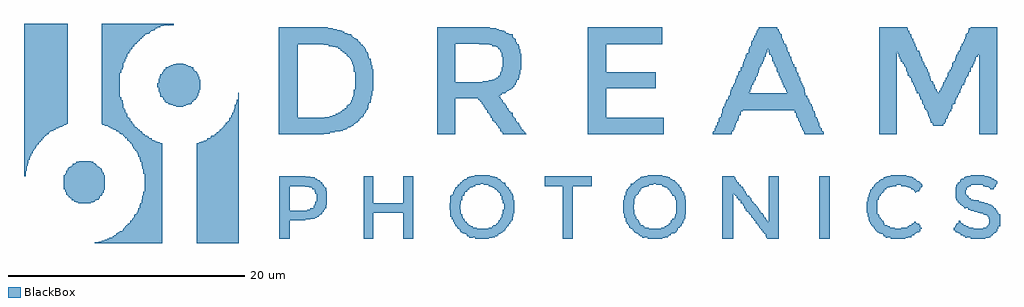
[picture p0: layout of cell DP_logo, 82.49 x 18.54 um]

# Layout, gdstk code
import gdstk
lib = gdstk.Library(unit=1e-6, precision=1e-09)
def R(c, l, rs):  # rectangles x0, y0, x1, y1
    for r in rs: c.add(gdstk.rectangle(r[:2], r[2:], *l))
def P(c, l, *ps):  # polygons
    for p in ps: c.add(gdstk.Polygon(p, *l))
BlackBox = (998, 0)

dp_logo = lib.new_cell('DP_logo')
R(dp_logo, BlackBox, [(67.22,0.39,68.12,5.67)])
P(dp_logo, BlackBox, [(58.22,9.21),(58.22,9.36),(58.25,9.36),(58.25,9.48),(58.4,9.48),(58.4,9.72),(58.46,9.72),(58.46,9.93),(58.58,9.93),(58.58,10.11),(58.61,10.11),(58.61,10.2),(58.73,10.2),(58.73,10.56),(58.82,10.56),(58.82,10.65),(58.91,10.65),(58.91,10.92),(59,10.92),(59,11.04),(59.03,11.04),(59.03,11.37),(59.12,11.37),(59.12,11.52),(59.21,11.52),(59.21,11.79),(59.33,11.79),(59.33,11.94),(59.36,11.94),(59.36,12.12),(59.51,12.12),(59.51,12.33),(59.57,12.33),(59.57,12.48),(59.69,12.48),(59.69,12.78),(59.75,12.78),(59.75,12.96),(59.81,12.96),(59.81,13.17),(59.93,13.17),(59.93,13.38),(60.02,13.38),(60.02,13.53),(60.11,13.53),(60.11,13.77),(60.17,13.77),(60.17,13.89),(60.23,13.89),(60.23,14.16),(60.35,14.16),(60.35,14.4),(60.41,14.4),(60.41,14.52),(60.56,14.52),(60.56,14.7),(60.59,14.7),(60.59,14.88),(60.74,14.88),(60.74,15.12),(60.8,15.12),(60.8,15.33),(60.89,15.33),(60.89,15.54),(60.95,15.54),(60.95,15.69),(61.01,15.69),(61.01,15.93),(61.1,15.93),(61.1,16.05),(61.25,16.05),(61.25,16.38),(62.81,16.38),(62.81,16.14),(62.75,16.14),(62.75,16.02),(62.69,16.02),(62.69,15.75),(62.57,15.75),(62.57,15.54),(62.51,15.54),(62.51,15.39),(62.45,15.39),(62.45,15.18),(62.33,15.18),(62.33,14.94),(62.24,14.94),(62.24,14.85),(62.15,14.85),(62.15,14.64),(62.09,14.64),(62.09,14.4),(62.03,14.4),(62.03,14.16),(61.91,14.16),(61.91,14.07),(61.85,14.07),(61.85,13.77),(61.7,13.77),(61.7,13.59),(61.64,13.59),(61.64,13.38),(61.52,13.38),(61.52,13.23),(61.46,13.23),(61.46,12.99),(61.37,12.99),(61.37,12.78),(61.31,12.78),(61.31,12.66),(64.49,12.66),(64.49,12.78),(64.43,12.78),(64.43,12.99),(64.34,12.99),(64.34,13.17),(64.22,13.17),(64.22,13.41),(64.13,13.41),(64.13,13.59),(64.04,13.59),(64.04,13.8),(63.98,13.8),(63.98,13.98),(63.86,13.98),(63.86,14.16),(63.8,14.16),(63.8,14.46),(63.68,14.46),(63.68,14.52),(63.62,14.52),(63.62,14.85),(63.53,14.85),(63.53,14.94),(63.44,14.94),(63.44,15.18),(63.35,15.18),(63.35,15.39),(63.26,15.39),(63.26,15.6),(63.23,15.6),(63.23,15.75),(63.14,15.75),(63.14,15.93),(62.99,15.93),(62.99,16.14),(62.93,16.14),(62.93,16.38),(61.31,16.38),(61.31,16.56),(61.37,16.56),(61.37,16.65),(61.46,16.65),(61.46,16.98),(61.52,16.98),(61.52,17.13),(61.64,17.13),(61.64,17.31),(61.7,17.31),(61.7,17.52),(61.85,17.52),(61.85,17.76),(61.91,17.76),(61.91,17.94),(62.03,17.94),(62.03,18.09),(62.09,18.09),(62.09,18.27),(63.68,18.27),(63.68,18.09),(63.8,18.09),(63.8,17.88),(63.86,17.88),(63.86,17.7),(63.98,17.7),(63.98,17.64),(64.04,17.64),(64.04,17.28),(64.13,17.28),(64.13,17.13),(64.22,17.13),(64.22,16.86),(64.34,16.86),(64.34,16.77),(64.43,16.77),(64.43,16.56),(64.49,16.56),(64.49,16.26),(64.55,16.26),(64.55,16.14),(64.67,16.14),(64.67,15.93),(64.73,15.93),(64.73,15.75),(64.85,15.75),(64.85,15.51),(64.91,15.51),(64.91,15.33),(64.97,15.33),(64.97,15.12),(65.09,15.12),(65.09,14.88),(65.15,14.88),(65.15,14.85),(65.27,14.85),(65.27,14.52),(65.33,14.52),(65.33,14.4),(65.42,14.4),(65.42,14.1),(65.51,14.1),(65.51,13.98),(65.6,13.98),(65.6,13.68),(65.69,13.68),(65.69,13.53),(65.78,13.53),(65.78,13.35),(65.84,13.35),(65.84,13.17),(65.96,13.17),(65.96,12.99),(65.99,12.99),(65.99,12.72),(66.05,12.72),(66.05,12.48),(66.2,12.48),(66.2,12.27),(66.29,12.27),(66.29,12.12),(66.38,12.12),(66.38,11.88),(66.47,11.88),(66.47,11.73),(66.56,11.73),(66.56,11.52),(66.65,11.52),(66.65,11.28),(66.71,11.28),(66.71,11.16),(66.83,11.16),(66.83,10.92),(66.89,10.92),(66.89,10.65),(67.01,10.65),(67.01,10.5),(67.07,10.5),(67.07,10.29),(67.13,10.29),(67.13,10.17),(67.22,10.17),(67.22,9.84),(67.28,9.84),(67.28,9.72),(67.43,9.72),(67.43,9.48),(67.55,9.48),(67.55,9.36),(67.58,9.36),(67.58,9.21),(65.99,9.21),(65.99,9.24),(65.96,9.24),(65.96,9.45),(65.84,9.45),(65.84,9.57),(65.78,9.57),(65.78,9.78),(65.69,9.78),(65.69,9.93),(65.6,9.93),(65.6,10.2),(65.51,10.2),(65.51,10.35),(65.42,10.35),(65.42,10.62),(65.33,10.62),(65.33,10.74),(65.27,10.74),(65.27,11.04),(65.15,11.04),(65.15,11.22),(60.74,11.22),(60.74,11.16),(60.59,11.16),(60.59,11.01),(60.56,11.01),(60.56,10.83),(60.41,10.83),(60.41,10.56),(60.35,10.56),(60.35,10.35),(60.23,10.35),(60.23,10.17),(60.17,10.17),(60.17,9.99),(60.11,9.99),(60.11,9.78),(60.02,9.78),(60.02,9.57),(59.93,9.57),(59.93,9.45),(59.81,9.45),(59.81,9.21)],
  [(6,0),(6,0.06),(6.3,0.06),(6.3,0.12),(6.57,0.12),(6.57,0.21),(6.81,0.21),(6.81,0.27),(7.02,0.27),(7.02,0.39),(7.2,0.39),(7.2,0.45),(7.35,0.45),(7.35,0.48),(7.5,0.48),(7.5,0.57),(7.62,0.57),(7.62,0.66),(7.8,0.66),(7.8,0.78),(7.86,0.78),(7.86,0.84),(7.92,0.84),(7.92,0.9),(8.01,0.9),(8.01,0.93),(8.1,0.93),(8.1,1.02),(8.34,1.02),(8.34,1.11),(8.37,1.11),(8.37,1.2),(8.46,1.2),(8.46,1.29),(8.55,1.29),(8.55,1.44),(8.64,1.44),(8.64,1.5),(8.73,1.5),(8.73,1.53),(8.76,1.53),(8.76,1.65),(8.91,1.65),(8.91,1.68),(8.97,1.68),(8.97,1.89),(9.09,1.89),(9.09,1.92),(9.15,1.92),(9.15,2.07),(9.24,2.07),(9.24,2.16),(9.33,2.16),(9.33,2.4),(9.42,2.4),(9.42,2.43),(9.54,2.43),(9.54,2.58),(9.6,2.58),(9.6,2.76),(9.66,2.76),(9.66,2.94),(9.78,2.94),(9.78,3.24),(9.84,3.24),(9.84,3.36),(9.96,3.36),(9.96,3.69),(9.99,3.69),(9.99,4.02),(10.08,4.02),(10.08,4.35),(10.2,4.35),(10.2,5.88),(10.08,5.88),(10.08,6.3),(9.99,6.3),(9.99,6.54),(9.96,6.54),(9.96,6.87),(9.84,6.87),(9.84,7.11),(9.78,7.11),(9.78,7.32),(9.66,7.32),(9.66,7.5),(9.6,7.5),(9.6,7.68),(9.54,7.68),(9.54,7.83),(9.42,7.83),(9.42,7.92),(9.33,7.92),(9.33,8.04),(9.24,8.04),(9.24,8.19),(9.15,8.19),(9.15,8.37),(9.09,8.37),(9.09,8.46),(8.97,8.46),(8.97,8.58),(8.91,8.58),(8.91,8.67),(8.76,8.67),(8.76,8.7),(8.73,8.7),(8.73,8.85),(8.64,8.85),(8.64,8.88),(8.55,8.88),(8.55,9),(8.46,9),(8.46,9.06),(8.37,9.06),(8.37,9.21),(8.22,9.21),(8.22,9.24),(8.1,9.24),(8.1,9.36),(8.01,9.36),(8.01,9.45),(7.86,9.45),(7.86,9.48),(7.8,9.48),(7.8,9.57),(7.62,9.57),(7.62,9.63),(7.5,9.63),(7.5,9.72),(7.35,9.72),(7.35,9.78),(7.2,9.78),(7.2,9.84),(7.14,9.84),(7.14,9.93),(6.81,9.93),(6.81,9.99),(6.63,9.99),(6.63,10.11),(6.57,10.11),(6.57,18.54),(12.66,18.54),(12.66,18.42),(12.18,18.42),(12.18,18.39),(11.82,18.39),(11.82,18.36),(11.52,18.36),(11.52,18.27),(11.28,18.27),(11.28,18.18),(11.1,18.18),(11.1,18.09),(11.07,18.09),(11.07,18),(10.89,18),(10.89,17.94),(10.71,17.94),(10.71,17.88),(10.62,17.88),(10.62,17.76),(10.53,17.76),(10.53,17.7),(10.32,17.7),(10.32,17.64),(10.2,17.64),(10.2,17.52),(10.08,17.52),(10.08,17.4),(9.96,17.4),(9.96,17.28),(9.84,17.28),(9.84,17.22),(9.78,17.22),(9.78,17.13),(9.66,17.13),(9.66,17.04),(9.6,17.04),(9.6,16.98),(9.54,16.98),(9.54,16.86),(9.42,16.86),(9.42,16.83),(9.33,16.83),(9.33,16.65),(9.24,16.65),(9.24,16.59),(9.15,16.59),(9.15,16.44),(9.09,16.44),(9.09,16.38),(8.97,16.38),(8.97,16.23),(8.91,16.23),(8.91,16.05),(8.76,16.05),(8.76,16.02),(8.73,16.02),(8.73,15.75),(8.64,15.75),(8.64,15.6),(8.55,15.6),(8.55,15.39),(8.46,15.39),(8.46,15.24),(8.37,15.24),(8.37,14.88),(8.34,14.88),(8.34,14.7),(8.22,14.7),(8.22,14.4),(8.1,14.4),(8.1,12.33),(8.22,12.33),(8.22,12.06),(8.34,12.06),(8.34,11.79),(8.37,11.79),(8.37,11.4),(8.46,11.4),(8.46,11.28),(8.55,11.28),(8.55,11.04),(8.64,11.04),(8.64,10.92),(8.73,10.92),(8.73,10.65),(8.76,10.65),(8.76,10.62),(8.91,10.62),(8.91,10.5),(8.97,10.5),(8.97,10.29),(9.09,10.29),(9.09,10.2),(9.15,10.2),(9.15,10.11),(9.24,10.11),(9.24,9.99),(9.33,9.99),(9.33,9.84),(9.42,9.84),(9.42,9.78),(9.54,9.78),(9.54,9.72),(9.6,9.72),(9.6,9.63),(9.66,9.63),(9.66,9.57),(9.78,9.57),(9.78,9.45),(9.96,9.45),(9.96,9.36),(9.99,9.36),(9.99,9.24),(10.08,9.24),(10.08,9.21),(10.2,9.21),(10.2,9.09),(10.32,9.09),(10.32,9.06),(10.41,9.06),(10.41,9),(10.53,9),(10.53,8.88),(10.62,8.88),(10.62,8.85),(10.8,8.85),(10.8,8.7),(10.95,8.7),(10.95,8.67),(11.1,8.67),(11.1,8.58),(11.28,8.58),(11.28,8.55),(11.49,8.55),(11.49,8.46),(11.67,8.46),(11.67,0)],
  [(72.29,9.21),(72.29,18.27),(74.63,18.27),(74.63,18.18),(74.69,18.18),(74.69,17.94),(74.81,17.94),(74.81,17.76),(74.87,17.76),(74.87,17.64),(74.99,17.64),(74.99,17.4),(75.05,17.4),(75.05,17.28),(75.14,17.28),(75.14,17.04),(75.23,17.04),(75.23,16.86),(75.32,16.86),(75.32,16.65),(75.35,16.65),(75.35,16.56),(75.47,16.56),(75.47,16.26),(75.65,16.26),(75.65,16.14),(75.71,16.14),(75.71,16.02),(75.74,16.02),(75.74,15.75),(75.86,15.75),(75.86,15.6),(75.92,15.6),(75.92,15.39),(76.01,15.39),(76.01,15.24),(76.1,15.24),(76.1,15.03),(76.19,15.03),(76.19,14.88),(76.28,14.88),(76.28,14.7),(76.37,14.7),(76.37,14.49),(76.43,14.49),(76.43,14.4),(76.49,14.4),(76.49,14.1),(76.58,14.1),(76.58,13.89),(76.64,13.89),(76.64,13.68),(76.79,13.68),(76.79,13.59),(76.85,13.59),(76.85,13.38),(76.97,13.38),(76.97,13.17),(77.03,13.17),(77.03,12.99),(77.15,12.99),(77.15,12.78),(77.21,12.78),(77.21,12.66),(77.27,12.66),(77.27,12.72),(77.36,12.72),(77.36,12.87),(77.48,12.87),(77.48,13.08),(77.57,13.08),(77.57,13.23),(77.66,13.23),(77.66,13.38),(77.69,13.38),(77.69,13.59),(77.81,13.59),(77.81,13.77),(77.9,13.77),(77.9,13.98),(78.02,13.98),(78.02,14.1),(78.08,14.1),(78.08,14.4),(78.17,14.4),(78.17,14.49),(78.26,14.49),(78.26,14.64),(78.35,14.64),(78.35,14.88),(78.44,14.88),(78.44,15.03),(78.47,15.03),(78.47,15.24),(78.56,15.24),(78.56,15.39),(78.71,15.39),(78.71,15.6),(78.77,15.6),(78.77,15.75),(78.8,15.75),(78.8,15.93),(78.92,15.93),(78.92,16.14),(79.01,16.14),(79.01,16.26),(79.13,16.26),(79.13,16.56),(79.19,16.56),(79.19,16.65),(79.25,16.65),(79.25,16.86),(79.37,16.86),(79.37,17.04),(79.46,17.04),(79.46,17.22),(79.55,17.22),(79.55,17.4),(79.61,17.4),(79.61,17.64),(79.67,17.64),(79.67,17.76),(79.79,17.76),(79.79,17.94),(79.85,17.94),(79.85,18.18),(80,18.18),(80,18.27),(82.25,18.27),(82.25,9.21),(80.75,9.21),(80.75,16.05),(80.69,16.05),(80.69,15.93),(80.6,15.93),(80.6,15.75),(80.45,15.75),(80.45,15.54),(80.39,15.54),(80.39,15.39),(80.33,15.39),(80.33,15.18),(80.24,15.18),(80.24,15.03),(80.18,15.03),(80.18,14.88),(80.03,14.88),(80.03,14.64),(80,14.64),(80,14.49),(79.85,14.49),(79.85,14.28),(79.79,14.28),(79.79,14.1),(79.67,14.1),(79.67,13.98),(79.61,13.98),(79.61,13.8),(79.55,13.8),(79.55,13.59),(79.46,13.59),(79.46,13.41),(79.37,13.41),(79.37,13.35),(79.25,13.35),(79.25,13.08),(79.19,13.08),(79.19,12.96),(79.13,12.96),(79.13,12.72),(79.01,12.72),(79.01,12.54),(78.92,12.54),(78.92,12.33),(78.8,12.33),(78.8,12.15),(78.77,12.15),(78.77,12.06),(78.71,12.06),(78.71,11.79),(78.56,11.79),(78.56,11.73),(78.47,11.73),(78.47,11.52),(78.44,11.52),(78.44,11.37),(78.35,11.37),(78.35,11.16),(78.26,11.16),(78.26,11.01),(78.17,11.01),(78.17,10.83),(78.08,10.83),(78.08,10.62),(78.02,10.62),(78.02,10.5),(77.9,10.5),(77.9,10.2),(77.81,10.2),(77.81,10.11),(77.69,10.11),(77.69,9.93),(76.85,9.93),(76.85,9.99),(76.79,9.99),(76.79,10.17),(76.64,10.17),(76.64,10.35),(76.58,10.35),(76.58,10.56),(76.49,10.56),(76.49,10.74),(76.43,10.74),(76.43,10.92),(76.37,10.92),(76.37,11.16),(76.28,11.16),(76.28,11.28),(76.19,11.28),(76.19,11.4),(76.1,11.4),(76.1,11.7),(76.01,11.7),(76.01,11.79),(75.92,11.79),(75.92,12.06),(75.86,12.06),(75.86,12.15),(75.74,12.15),(75.74,12.36),(75.71,12.36),(75.71,12.48),(75.65,12.48),(75.65,12.66),(75.47,12.66),(75.47,12.87),(75.35,12.87),(75.35,12.99),(75.32,12.99),(75.32,13.23),(75.23,13.23),(75.23,13.38),(75.14,13.38),(75.14,13.59),(75.05,13.59),(75.05,13.77),(74.99,13.77),(74.99,13.98),(74.87,13.98),(74.87,14.1),(74.81,14.1),(74.81,14.16),(74.69,14.16),(74.69,14.46),(74.63,14.46),(74.63,14.52),(74.57,14.52),(74.57,14.85),(74.48,14.85),(74.48,14.94),(74.39,14.94),(74.39,15.18),(74.27,15.18),(74.27,15.33),(74.15,15.33),(74.15,15.39),(74.12,15.39),(74.12,15.6),(74.03,15.6),(74.03,15.75),(73.94,15.75),(73.94,16.02),(73.85,16.02),(73.85,16.14),(73.76,16.14),(73.76,9.21)],
  [(38.15,0.39),(38.15,0.45),(37.91,0.45),(37.91,0.48),(37.64,0.48),(37.64,0.57),(37.46,0.57),(37.46,0.66),(37.4,0.66),(37.4,0.78),(37.25,0.78),(37.25,0.84),(37.1,0.84),(37.1,0.9),(37.04,0.9),(37.04,0.93),(36.92,0.93),(36.92,1.02),(36.86,1.02),(36.86,1.11),(36.83,1.11),(36.83,1.2),(36.68,1.2),(36.68,1.32),(36.62,1.32),(36.62,1.44),(36.47,1.44),(36.47,1.5),(36.44,1.5),(36.44,1.65),(36.35,1.65),(36.35,1.8),(36.26,1.8),(36.26,2.01),(36.17,2.01),(36.17,2.22),(36.02,2.22),(36.02,2.82),(35.99,2.82),(35.99,3.36),(36.02,3.36),(36.02,4.02),(36.17,4.02),(36.17,4.08),(36.26,4.08),(36.26,4.35),(36.35,4.35),(36.35,4.5),(36.44,4.5),(36.44,4.68),(36.47,4.68),(36.47,4.71),(36.62,4.71),(36.62,4.77),(36.68,4.77),(36.68,4.92),(36.83,4.92),(36.83,5.04),(38.57,5.04),(38.57,4.92),(38.15,4.92),(38.15,4.8),(37.97,4.8),(37.97,4.77),(37.91,4.77),(37.91,4.71),(37.73,4.71),(37.73,4.68),(37.64,4.68),(37.64,4.56),(37.55,4.56),(37.55,4.5),(37.46,4.5),(37.46,4.38),(37.4,4.38),(37.4,4.35),(37.25,4.35),(37.25,4.17),(37.22,4.17),(37.22,4.02),(37.04,4.02),(37.04,3.63),(36.92,3.63),(36.92,3.27),(36.86,3.27),(36.86,2.82),(36.92,2.82),(36.92,2.43),(37.04,2.43),(37.04,2.22),(37.1,2.22),(37.1,2.07),(37.22,2.07),(37.22,1.92),(37.25,1.92),(37.25,1.8),(37.4,1.8),(37.4,1.68),(37.46,1.68),(37.46,1.65),(37.55,1.65),(37.55,1.53),(37.64,1.53),(37.64,1.5),(37.73,1.5),(37.73,1.44),(37.91,1.44),(37.91,1.32),(38.09,1.32),(38.09,1.29),(38.27,1.29),(38.27,1.2),(39.29,1.2),(39.29,1.29),(39.47,1.29),(39.47,1.32),(39.59,1.32),(39.59,1.44),(39.68,1.44),(39.68,1.5),(39.77,1.5),(39.77,1.53),(39.92,1.53),(39.92,1.65),(40.01,1.65),(40.01,1.68),(40.07,1.68),(40.07,1.8),(40.13,1.8),(40.13,1.92),(40.25,1.92),(40.25,2.07),(40.31,2.07),(40.31,2.16),(40.37,2.16),(40.37,2.43),(40.46,2.43),(40.46,2.82),(40.58,2.82),(40.58,3.36),(40.46,3.36),(40.46,3.69),(40.37,3.69),(40.37,4.02),(40.25,4.02),(40.25,4.26),(40.13,4.26),(40.13,4.35),(40.07,4.35),(40.07,4.38),(40.01,4.38),(40.01,4.5),(39.92,4.5),(39.92,4.56),(39.77,4.56),(39.77,4.68),(39.68,4.68),(39.68,4.71),(39.59,4.71),(39.59,4.77),(39.47,4.77),(39.47,4.8),(39.29,4.8),(39.29,4.92),(38.84,4.92),(38.84,5.04),(36.86,5.04),(36.86,5.1),(36.92,5.1),(36.92,5.16),(37.04,5.16),(37.04,5.22),(37.1,5.22),(37.1,5.31),(37.22,5.31),(37.22,5.4),(37.4,5.4),(37.4,5.43),(37.46,5.43),(37.46,5.58),(37.64,5.58),(37.64,5.61),(37.82,5.61),(37.82,5.67),(38.09,5.67),(38.09,5.76),(39.38,5.76),(39.38,5.67),(39.59,5.67),(39.59,5.61),(39.77,5.61),(39.77,5.58),(40.01,5.58),(40.01,5.43),(40.07,5.43),(40.07,5.4),(40.25,5.4),(40.25,5.31),(40.31,5.31),(40.31,5.22),(40.37,5.22),(40.37,5.16),(40.46,5.16),(40.46,5.1),(40.67,5.1),(40.67,4.92),(40.73,4.92),(40.73,4.8),(40.79,4.8),(40.79,4.71),(40.91,4.71),(40.91,4.68),(40.97,4.68),(40.97,4.5),(41.09,4.5),(41.09,4.35),(41.18,4.35),(41.18,4.17),(41.3,4.17),(41.3,4.02),(41.36,4.02),(41.36,3.63),(41.45,3.63),(41.45,2.55),(41.36,2.55),(41.36,2.22),(41.3,2.22),(41.3,1.92),(41.18,1.92),(41.18,1.8),(41.09,1.8),(41.09,1.65),(40.97,1.65),(40.97,1.5),(40.91,1.5),(40.91,1.44),(40.79,1.44),(40.79,1.29),(40.73,1.29),(40.73,1.2),(40.67,1.2),(40.67,1.11),(40.58,1.11),(40.58,1.02),(40.46,1.02),(40.46,0.93),(40.37,0.93),(40.37,0.9),(40.31,0.9),(40.31,0.84),(40.25,0.84),(40.25,0.78),(40.07,0.78),(40.07,0.66),(40.01,0.66),(40.01,0.57),(39.77,0.57),(39.77,0.48),(39.59,0.48),(39.59,0.45),(39.29,0.45),(39.29,0.39)],
  [(21.53,9.21),(21.53,16.83),(23.12,16.83),(23.12,10.62),(25.4,10.62),(25.4,10.65),(25.85,10.65),(25.85,10.74),(26.09,10.74),(26.09,10.83),(26.36,10.83),(26.36,10.92),(26.54,10.92),(26.54,11.01),(26.63,11.01),(26.63,11.04),(26.78,11.04),(26.78,11.16),(26.9,11.16),(26.9,11.22),(26.96,11.22),(26.96,11.28),(27.11,11.28),(27.11,11.4),(27.29,11.4),(27.29,11.61),(27.38,11.61),(27.38,11.7),(27.5,11.7),(27.5,11.73),(27.56,11.73),(27.56,11.88),(27.65,11.88),(27.65,12.06),(27.74,12.06),(27.74,12.33),(27.83,12.33),(27.83,12.48),(27.89,12.48),(27.89,12.96),(28.01,12.96),(28.01,14.49),(27.89,14.49),(27.89,14.94),(27.83,14.94),(27.83,15.12),(27.74,15.12),(27.74,15.39),(27.65,15.39),(27.65,15.54),(27.56,15.54),(27.56,15.69),(27.5,15.69),(27.5,15.75),(27.38,15.75),(27.38,15.84),(27.29,15.84),(27.29,16.02),(27.11,16.02),(27.11,16.14),(26.96,16.14),(26.96,16.23),(26.9,16.23),(26.9,16.26),(26.78,16.26),(26.78,16.38),(26.72,16.38),(26.72,16.44),(26.54,16.44),(26.54,16.56),(26.36,16.56),(26.36,16.59),(26.09,16.59),(26.09,16.65),(25.76,16.65),(25.76,16.77),(25.34,16.77),(25.34,16.83),(21.53,16.83),(21.53,18.27),(25.67,18.27),(25.67,18.18),(26.09,18.18),(26.09,18.09),(26.45,18.09),(26.45,18),(26.72,18),(26.72,17.94),(26.9,17.94),(26.9,17.88),(27.08,17.88),(27.08,17.76),(27.29,17.76),(27.29,17.7),(27.38,17.7),(27.38,17.64),(27.65,17.64),(27.65,17.52),(27.74,17.52),(27.74,17.4),(27.89,17.4),(27.89,17.31),(28.01,17.31),(28.01,17.28),(28.1,17.28),(28.1,17.22),(28.19,17.22),(28.19,17.13),(28.25,17.13),(28.25,17.04),(28.34,17.04),(28.34,16.98),(28.4,16.98),(28.4,16.86),(28.46,16.86),(28.46,16.77),(28.61,16.77),(28.61,16.65),(28.7,16.65),(28.7,16.56),(28.79,16.56),(28.79,16.44),(28.88,16.44),(28.88,16.26),(28.94,16.26),(28.94,16.14),(29.06,16.14),(29.06,16.02),(29.09,16.02),(29.09,15.75),(29.15,15.75),(29.15,15.6),(29.3,15.6),(29.3,15.33),(29.36,15.33),(29.36,15.03),(29.45,15.03),(29.45,14.7),(29.51,14.7),(29.51,12.87),(29.45,12.87),(29.45,12.48),(29.36,12.48),(29.36,12.15),(29.3,12.15),(29.3,11.88),(29.15,11.88),(29.15,11.7),(29.09,11.7),(29.09,11.4),(29.06,11.4),(29.06,11.28),(28.94,11.28),(28.94,11.16),(28.88,11.16),(28.88,11.04),(28.79,11.04),(28.79,10.92),(28.7,10.92),(28.7,10.74),(28.61,10.74),(28.61,10.65),(28.46,10.65),(28.46,10.56),(28.4,10.56),(28.4,10.5),(28.34,10.5),(28.34,10.35),(28.25,10.35),(28.25,10.29),(28.19,10.29),(28.19,10.2),(28.1,10.2),(28.1,10.17),(28.01,10.17),(28.01,10.11),(27.89,10.11),(27.89,9.99),(27.83,9.99),(27.83,9.93),(27.65,9.93),(27.65,9.84),(27.56,9.84),(27.56,9.78),(27.38,9.78),(27.38,9.72),(27.29,9.72),(27.29,9.63),(27.11,9.63),(27.11,9.57),(26.96,9.57),(26.96,9.48),(26.72,9.48),(26.72,9.45),(26.27,9.45),(26.27,9.36),(25.85,9.36),(25.85,9.24),(25.34,9.24),(25.34,9.21)],
  [(21.59,0.39),(21.59,4.8),(22.46,4.8),(22.46,2.76),(23.93,2.76),(23.93,2.82),(24.2,2.82),(24.2,2.94),(24.38,2.94),(24.38,2.97),(24.47,2.97),(24.47,3.15),(24.56,3.15),(24.56,3.27),(24.62,3.27),(24.62,3.51),(24.74,3.51),(24.74,4.17),(24.62,4.17),(24.62,4.35),(24.56,4.35),(24.56,4.56),(24.38,4.56),(24.38,4.68),(24.32,4.68),(24.32,4.71),(24.11,4.71),(24.11,4.77),(23.75,4.77),(23.75,4.8),(21.59,4.8),(21.59,5.67),(23.75,5.67),(23.75,5.61),(24.2,5.61),(24.2,5.58),(24.56,5.58),(24.56,5.43),(24.74,5.43),(24.74,5.4),(24.77,5.4),(24.77,5.31),(24.98,5.31),(24.98,5.22),(25.04,5.22),(25.04,5.16),(25.16,5.16),(25.16,5.1),(25.22,5.1),(25.22,4.92),(25.34,4.92),(25.34,4.77),(25.4,4.77),(25.4,4.68),(25.55,4.68),(25.55,4.38),(25.58,4.38),(25.58,3.24),(25.55,3.24),(25.55,2.97),(25.4,2.97),(25.4,2.82),(25.34,2.82),(25.34,2.64),(25.22,2.64),(25.22,2.55),(25.16,2.55),(25.16,2.43),(25.04,2.43),(25.04,2.4),(24.98,2.4),(24.98,2.34),(24.92,2.34),(24.92,2.22),(24.74,2.22),(24.74,2.16),(24.56,2.16),(24.56,2.07),(24.2,2.07),(24.2,2.01),(23.75,2.01),(23.75,1.92),(22.46,1.92),(22.46,0.39)],
  [(52.73,0.39),(52.73,0.45),(52.43,0.45),(52.43,0.48),(52.25,0.48),(52.25,0.57),(52.1,0.57),(52.1,0.66),(51.95,0.66),(51.95,0.78),(51.89,0.78),(51.89,0.84),(51.74,0.84),(51.74,0.9),(51.65,0.9),(51.65,0.93),(51.59,0.93),(51.59,1.02),(51.53,1.02),(51.53,1.11),(51.44,1.11),(51.44,1.2),(51.29,1.2),(51.29,1.29),(51.23,1.29),(51.23,1.32),(51.17,1.32),(51.17,1.5),(51.05,1.5),(51.05,1.65),(50.93,1.65),(50.93,1.8),(50.87,1.8),(50.87,1.92),(50.84,1.92),(50.84,2.16),(50.72,2.16),(50.72,2.55),(50.66,2.55),(50.66,3.63),(50.72,3.63),(50.72,4.02),(50.84,4.02),(50.84,4.17),(50.87,4.17),(50.87,4.35),(50.93,4.35),(50.93,4.56),(51.05,4.56),(51.05,4.68),(51.17,4.68),(51.17,4.77),(51.23,4.77),(51.23,4.8),(51.29,4.8),(51.29,5.04),(53.18,5.04),(53.18,4.92),(52.79,4.92),(52.79,4.8),(52.64,4.8),(52.64,4.77),(52.43,4.77),(52.43,4.71),(52.34,4.71),(52.34,4.68),(52.16,4.68),(52.16,4.56),(52.1,4.56),(52.1,4.38),(51.98,4.38),(51.98,4.35),(51.95,4.35),(51.95,4.17),(51.89,4.17),(51.89,4.08),(51.74,4.08),(51.74,4.02),(51.65,4.02),(51.65,3.81),(51.59,3.81),(51.59,3.27),(51.53,3.27),(51.53,2.82),(51.59,2.82),(51.59,2.4),(51.65,2.4),(51.65,2.22),(51.74,2.22),(51.74,2.01),(51.89,2.01),(51.89,1.92),(51.95,1.92),(51.95,1.8),(51.98,1.8),(51.98,1.68),(52.1,1.68),(52.1,1.53),(52.25,1.53),(52.25,1.5),(52.34,1.5),(52.34,1.44),(52.43,1.44),(52.43,1.32),(52.64,1.32),(52.64,1.29),(52.79,1.29),(52.79,1.2),(53.87,1.2),(53.87,1.29),(53.96,1.29),(53.96,1.32),(54.14,1.32),(54.14,1.44),(54.32,1.44),(54.32,1.5),(54.41,1.5),(54.41,1.53),(54.5,1.53),(54.5,1.65),(54.59,1.65),(54.59,1.68),(54.68,1.68),(54.68,1.89),(54.71,1.89),(54.71,1.92),(54.8,1.92),(54.8,2.07),(54.98,2.07),(54.98,2.22),(55.04,2.22),(55.04,2.43),(55.13,2.43),(55.13,3.69),(55.04,3.69),(55.04,3.87),(54.98,3.87),(54.98,4.02),(54.8,4.02),(54.8,4.17),(54.71,4.17),(54.71,4.26),(54.68,4.26),(54.68,4.38),(54.59,4.38),(54.59,4.5),(54.5,4.5),(54.5,4.56),(54.41,4.56),(54.41,4.68),(54.32,4.68),(54.32,4.71),(54.14,4.71),(54.14,4.77),(54.08,4.77),(54.08,4.8),(53.93,4.8),(53.93,4.92),(53.45,4.92),(53.45,5.04),(51.53,5.04),(51.53,5.1),(51.59,5.1),(51.59,5.16),(51.65,5.16),(51.65,5.22),(51.74,5.22),(51.74,5.31),(51.89,5.31),(51.89,5.4),(51.95,5.4),(51.95,5.43),(52.1,5.43),(52.1,5.58),(52.16,5.58),(52.16,5.61),(52.43,5.61),(52.43,5.67),(52.73,5.67),(52.73,5.76),(53.96,5.76),(53.96,5.67),(54.26,5.67),(54.26,5.61),(54.41,5.61),(54.41,5.58),(54.59,5.58),(54.59,5.43),(54.68,5.43),(54.68,5.4),(54.8,5.4),(54.8,5.31),(54.98,5.31),(54.98,5.22),(55.04,5.22),(55.04,5.16),(55.13,5.16),(55.13,5.1),(55.19,5.1),(55.19,5.04),(55.25,5.04),(55.25,4.92),(55.37,4.92),(55.37,4.77),(55.43,4.77),(55.43,4.71),(55.55,4.71),(55.55,4.56),(55.61,4.56),(55.61,4.38),(55.7,4.38),(55.7,4.26),(55.79,4.26),(55.79,4.02),(55.88,4.02),(55.88,3.69),(55.91,3.69),(55.91,2.43),(55.88,2.43),(55.88,2.07),(55.79,2.07),(55.79,1.92),(55.7,1.92),(55.7,1.68),(55.61,1.68),(55.61,1.53),(55.55,1.53),(55.55,1.44),(55.43,1.44),(55.43,1.32),(55.37,1.32),(55.37,1.29),(55.25,1.29),(55.25,1.11),(55.19,1.11),(55.19,1.02),(55.13,1.02),(55.13,0.93),(55.04,0.93),(55.04,0.9),(54.98,0.9),(54.98,0.84),(54.71,0.84),(54.71,0.78),(54.68,0.78),(54.68,0.66),(54.5,0.66),(54.5,0.57),(54.41,0.57),(54.41,0.48),(54.14,0.48),(54.14,0.45),(53.93,0.45),(53.93,0.39)],
  [(28.7,0.39),(28.7,5.67),(29.51,5.67),(29.51,3.36),(32.06,3.36),(32.06,5.67),(32.9,5.67),(32.9,0.39),(32.06,0.39),(32.06,2.58),(29.51,2.58),(29.51,0.39)],
  [(4.59,3.36),(4.59,3.45),(4.41,3.45),(4.41,3.51),(4.23,3.51),(4.23,3.63),(4.02,3.63),(4.02,3.81),(3.93,3.81),(3.93,3.87),(3.78,3.87),(3.78,4.02),(3.69,4.02),(3.69,4.08),(3.57,4.08),(3.57,4.35),(3.48,4.35),(3.48,4.56),(3.36,4.56),(3.36,5.76),(3.48,5.76),(3.48,5.88),(3.57,5.88),(3.57,6.12),(3.69,6.12),(3.69,6.3),(3.72,6.3),(3.72,6.33),(3.78,6.33),(3.78,6.42),(3.93,6.42),(3.93,6.48),(4.02,6.48),(4.02,6.54),(4.11,6.54),(4.11,6.69),(4.14,6.69),(4.14,6.72),(4.32,6.72),(4.32,6.75),(4.41,6.75),(4.41,6.87),(4.68,6.87),(4.68,6.93),(5.64,6.93),(5.64,6.87),(5.85,6.87),(5.85,6.75),(6,6.75),(6,6.72),(6.06,6.72),(6.06,6.69),(6.12,6.69),(6.12,6.54),(6.21,6.54),(6.21,6.48),(6.3,6.48),(6.3,6.42),(6.42,6.42),(6.42,6.33),(6.48,6.33),(6.48,6.3),(6.57,6.3),(6.57,6.12),(6.63,6.12),(6.63,5.97),(6.75,5.97),(6.75,5.76),(6.81,5.76),(6.81,5.58),(6.84,5.58),(6.84,4.77),(6.81,4.77),(6.81,4.5),(6.75,4.5),(6.75,4.26),(6.63,4.26),(6.63,4.08),(6.57,4.08),(6.57,4.02),(6.42,4.02),(6.42,3.81),(6.3,3.81),(6.3,3.69),(6.12,3.69),(6.12,3.63),(6,3.63),(6,3.51),(5.85,3.51),(5.85,3.45),(5.64,3.45),(5.64,3.36)],
  [(34.94,9.21),(34.94,16.86),(36.44,16.86),(36.44,13.59),(38.78,13.59),(38.78,13.68),(39.29,13.68),(39.29,13.77),(39.59,13.77),(39.59,13.8),(39.77,13.8),(39.77,13.89),(39.92,13.89),(39.92,13.98),(40.07,13.98),(40.07,14.1),(40.13,14.1),(40.13,14.16),(40.25,14.16),(40.25,14.4),(40.31,14.4),(40.31,14.49),(40.37,14.49),(40.37,14.88),(40.46,14.88),(40.46,15.75),(40.37,15.75),(40.37,16.14),(40.31,16.14),(40.31,16.23),(40.25,16.23),(40.25,16.38),(40.13,16.38),(40.13,16.44),(40.07,16.44),(40.07,16.56),(40.01,16.56),(40.01,16.59),(39.92,16.59),(39.92,16.65),(39.59,16.65),(39.59,16.77),(39.38,16.77),(39.38,16.83),(38.48,16.83),(38.48,16.86),(34.94,16.86),(34.94,18.27),(39.38,18.27),(39.38,18.18),(39.92,18.18),(39.92,18.09),(40.13,18.09),(40.13,18),(40.37,18),(40.37,17.94),(40.58,17.94),(40.58,17.88),(40.73,17.88),(40.73,17.76),(40.91,17.76),(40.91,17.7),(40.97,17.7),(40.97,17.64),(41.3,17.64),(41.3,17.4),(41.36,17.4),(41.36,17.31),(41.45,17.31),(41.45,17.28),(41.51,17.28),(41.51,17.22),(41.57,17.22),(41.57,16.98),(41.66,16.98),(41.66,16.83),(41.81,16.83),(41.81,16.65),(41.87,16.65),(41.87,16.38),(41.93,16.38),(41.93,16.02),(42.02,16.02),(42.02,14.64),(41.93,14.64),(41.93,14.28),(41.87,14.28),(41.87,13.98),(41.81,13.98),(41.81,13.8),(41.66,13.8),(41.66,13.59),(41.57,13.59),(41.57,13.41),(41.51,13.41),(41.51,13.38),(41.45,13.38),(41.45,13.23),(41.36,13.23),(41.36,13.17),(41.3,13.17),(41.3,13.08),(41.18,13.08),(41.18,12.99),(41.09,12.99),(41.09,12.96),(40.97,12.96),(40.97,12.87),(40.79,12.87),(40.79,12.78),(40.73,12.78),(40.73,12.72),(40.67,12.72),(40.67,12.66),(40.37,12.66),(40.37,12.54),(40.25,12.54),(40.25,12.48),(40.13,12.48),(40.13,12.36),(40.25,12.36),(40.25,12.27),(40.31,12.27),(40.31,12.15),(40.37,12.15),(40.37,12.06),(40.46,12.06),(40.46,11.88),(40.58,11.88),(40.58,11.79),(40.67,11.79),(40.67,11.7),(40.73,11.7),(40.73,11.61),(40.79,11.61),(40.79,11.4),(40.91,11.4),(40.91,11.28),(40.97,11.28),(40.97,11.16),(41.09,11.16),(41.09,11.04),(41.18,11.04),(41.18,11.01),(41.3,11.01),(41.3,10.74),(41.36,10.74),(41.36,10.65),(41.45,10.65),(41.45,10.56),(41.51,10.56),(41.51,10.5),(41.57,10.5),(41.57,10.29),(41.66,10.29),(41.66,10.17),(41.81,10.17),(41.81,10.11),(41.87,10.11),(41.87,9.93),(41.93,9.93),(41.93,9.78),(42.02,9.78),(42.02,9.63),(42.08,9.63),(42.08,9.57),(42.2,9.57),(42.2,9.45),(42.26,9.45),(42.26,9.36),(42.38,9.36),(42.38,9.24),(42.47,9.24),(42.47,9.21),(40.46,9.21),(40.46,9.36),(40.37,9.36),(40.37,9.45),(40.31,9.45),(40.31,9.48),(40.25,9.48),(40.25,9.72),(40.13,9.72),(40.13,9.78),(40.07,9.78),(40.07,9.93),(40.01,9.93),(40.01,9.99),(39.92,9.99),(39.92,10.17),(39.77,10.17),(39.77,10.29),(39.68,10.29),(39.68,10.35),(39.59,10.35),(39.59,10.56),(39.56,10.56),(39.56,10.62),(39.47,10.62),(39.47,10.83),(39.38,10.83),(39.38,10.92),(39.29,10.92),(39.29,11.04),(39.17,11.04),(39.17,11.16),(39.14,11.16),(39.14,11.28),(39.02,11.28),(39.02,11.4),(38.96,11.4),(38.96,11.52),(38.84,11.52),(38.84,11.7),(38.78,11.7),(38.78,11.79),(38.69,11.79),(38.69,11.94),(38.57,11.94),(38.57,12.06),(38.48,12.06),(38.48,12.12),(38.39,12.12),(38.39,12.27),(36.44,12.27),(36.44,9.21)],
  [(80.03,0.39),(80.03,0.45),(79.67,0.45),(79.67,0.48),(79.55,0.48),(79.55,0.57),(79.37,0.57),(79.37,0.66),(79.19,0.66),(79.19,0.78),(79.13,0.78),(79.13,0.84),(79.01,0.84),(79.01,0.9),(78.92,0.9),(78.92,0.93),(78.77,0.93),(78.77,1.02),(78.71,1.02),(78.71,1.11),(78.56,1.11),(78.56,1.32),(78.71,1.32),(78.71,1.44),(78.77,1.44),(78.77,1.53),(78.8,1.53),(78.8,1.65),(78.92,1.65),(78.92,1.68),(79.01,1.68),(79.01,1.89),(79.13,1.89),(79.13,1.8),(79.19,1.8),(79.19,1.68),(79.25,1.68),(79.25,1.65),(79.37,1.65),(79.37,1.53),(79.55,1.53),(79.55,1.5),(79.61,1.5),(79.61,1.44),(79.79,1.44),(79.79,1.32),(80,1.32),(80,1.29),(80.24,1.29),(80.24,1.2),(81.08,1.2),(81.08,1.29),(81.26,1.29),(81.26,1.32),(81.35,1.32),(81.35,1.44),(81.47,1.44),(81.47,1.5),(81.53,1.5),(81.53,1.65),(81.59,1.65),(81.59,2.07),(81.53,2.07),(81.53,2.22),(81.47,2.22),(81.47,2.34),(81.35,2.34),(81.35,2.4),(81.14,2.4),(81.14,2.43),(81.08,2.43),(81.08,2.55),(80.81,2.55),(80.81,2.58),(80.6,2.58),(80.6,2.64),(80.33,2.64),(80.33,2.76),(80,2.76),(80,2.82),(79.79,2.82),(79.79,2.94),(79.61,2.94),(79.61,2.97),(79.46,2.97),(79.46,3.06),(79.37,3.06),(79.37,3.15),(79.25,3.15),(79.25,3.24),(79.13,3.24),(79.13,3.36),(79.01,3.36),(79.01,3.45),(78.92,3.45),(78.92,3.63),(78.8,3.63),(78.8,3.81),(78.77,3.81),(78.77,4.71),(78.8,4.71),(78.8,4.92),(78.92,4.92),(78.92,5.1),(79.01,5.1),(79.01,5.16),(79.13,5.16),(79.13,5.31),(79.19,5.31),(79.19,5.4),(79.25,5.4),(79.25,5.43),(79.46,5.43),(79.46,5.58),(79.55,5.58),(79.55,5.61),(79.67,5.61),(79.67,5.67),(80,5.67),(80,5.76),(81.14,5.76),(81.14,5.67),(81.47,5.67),(81.47,5.61),(81.59,5.61),(81.59,5.58),(81.77,5.58),(81.77,5.43),(81.95,5.43),(81.95,5.4),(82.01,5.4),(82.01,5.31),(82.19,5.31),(82.19,5.22),(82.25,5.22),(82.25,5.04),(82.19,5.04),(82.19,4.92),(82.13,4.92),(82.13,4.77),(82.01,4.77),(82.01,4.68),(81.95,4.68),(81.95,4.56),(81.68,4.56),(81.68,4.68),(81.59,4.68),(81.59,4.71),(81.53,4.71),(81.53,4.77),(81.26,4.77),(81.26,4.8),(81.08,4.8),(81.08,4.92),(80.03,4.92),(80.03,4.8),(79.85,4.8),(79.85,4.77),(79.79,4.77),(79.79,4.71),(79.67,4.71),(79.67,4.5),(79.61,4.5),(79.61,4.08),(79.67,4.08),(79.67,4.02),(79.79,4.02),(79.79,3.87),(79.85,3.87),(79.85,3.81),(80.03,3.81),(80.03,3.69),(80.24,3.69),(80.24,3.63),(80.69,3.63),(80.69,3.51),(80.9,3.51),(80.9,3.45),(81.14,3.45),(81.14,3.36),(81.47,3.36),(81.47,3.27),(81.59,3.27),(81.59,3.24),(81.77,3.24),(81.77,3.15),(81.89,3.15),(81.89,3.06),(81.95,3.06),(81.95,2.97),(82.01,2.97),(82.01,2.94),(82.13,2.94),(82.13,2.82),(82.19,2.82),(82.19,2.76),(82.25,2.76),(82.25,2.58),(82.34,2.58),(82.34,2.43),(82.49,2.43),(82.49,1.44),(82.34,1.44),(82.34,1.2),(82.25,1.2),(82.25,1.02),(82.19,1.02),(82.19,0.93),(82.13,0.93),(82.13,0.9),(82.01,0.9),(82.01,0.84),(81.95,0.84),(81.95,0.78),(81.89,0.78),(81.89,0.66),(81.77,0.66),(81.77,0.57),(81.68,0.57),(81.68,0.48),(81.53,0.48),(81.53,0.45),(81.26,0.45),(81.26,0.39)],
  [(14.58,0),(14.58,8.46),(14.82,8.46),(14.82,8.55),(15,8.55),(15,8.58),(15.21,8.58),(15.21,8.67),(15.39,8.67),(15.39,8.7),(15.48,8.7),(15.48,8.85),(15.6,8.85),(15.6,8.88),(15.78,8.88),(15.78,9),(15.84,9),(15.84,9.06),(15.93,9.06),(15.93,9.09),(16.11,9.09),(16.11,9.21),(16.2,9.21),(16.2,9.24),(16.29,9.24),(16.29,9.36),(16.44,9.36),(16.44,9.45),(16.5,9.45),(16.5,9.48),(16.53,9.48),(16.53,9.57),(16.65,9.57),(16.65,9.63),(16.71,9.63),(16.71,9.72),(16.8,9.72),(16.8,9.78),(16.89,9.78),(16.89,9.93),(16.98,9.93),(16.98,9.99),(17.07,9.99),(17.07,10.17),(17.16,10.17),(17.16,10.2),(17.22,10.2),(17.22,10.29),(17.34,10.29),(17.34,10.56),(17.4,10.56),(17.4,10.62),(17.52,10.62),(17.52,10.83),(17.58,10.83),(17.58,11.01),(17.73,11.01),(17.73,11.22),(17.76,11.22),(17.76,11.37),(17.82,11.37),(17.82,11.7),(17.94,11.7),(17.94,11.88),(18,11.88),(18,12.12),(18.09,12.12),(18.09,12.72),(18.15,12.72),(18.15,0)],
  [(0,5.67),(0,18.54),(3.69,18.54),(3.69,10.11),(3.57,10.11),(3.57,9.99),(3.36,9.99),(3.36,9.93),(3.24,9.93),(3.24,9.84),(3.03,9.84),(3.03,9.78),(2.88,9.78),(2.88,9.72),(2.7,9.72),(2.7,9.63),(2.64,9.63),(2.64,9.57),(2.46,9.57),(2.46,9.48),(2.31,9.48),(2.31,9.45),(2.16,9.45),(2.16,9.36),(2.1,9.36),(2.1,9.24),(2.04,9.24),(2.04,9.21),(1.89,9.21),(1.89,9.09),(1.8,9.09),(1.8,9.06),(1.77,9.06),(1.77,9),(1.68,9),(1.68,8.88),(1.59,8.88),(1.59,8.85),(1.53,8.85),(1.53,8.7),(1.41,8.7),(1.41,8.58),(1.35,8.58),(1.35,8.55),(1.23,8.55),(1.23,8.37),(1.14,8.37),(1.14,8.28),(1.02,8.28),(1.02,8.16),(0.99,8.16),(0.99,8.04),(0.9,8.04),(0.9,7.92),(0.81,7.92),(0.81,7.8),(0.72,7.8),(0.72,7.59),(0.6,7.59),(0.6,7.41),(0.54,7.41),(0.54,7.26),(0.48,7.26),(0.48,7.05),(0.36,7.05),(0.36,6.75),(0.3,6.75),(0.3,6.54),(0.24,6.54),(0.24,6.12),(0.15,6.12),(0.15,5.67)],
  [(12.87,11.52),(12.87,11.61),(12.6,11.61),(12.6,11.7),(12.39,11.7),(12.39,11.73),(12.24,11.73),(12.24,11.79),(12.18,11.79),(12.18,11.88),(12,11.88),(12,11.94),(11.88,11.94),(11.88,12.12),(11.82,12.12),(11.82,12.15),(11.76,12.15),(11.76,12.33),(11.67,12.33),(11.67,12.36),(11.52,12.36),(11.52,12.66),(11.49,12.66),(11.49,12.78),(11.4,12.78),(11.4,13.17),(11.28,13.17),(11.28,13.53),(11.4,13.53),(11.4,13.89),(11.49,13.89),(11.49,14.1),(11.52,14.1),(11.52,14.28),(11.67,14.28),(11.67,14.46),(11.76,14.46),(11.76,14.52),(11.82,14.52),(11.82,14.64),(11.88,14.64),(11.88,14.7),(12,14.7),(12,14.85),(12.12,14.85),(12.12,14.88),(12.24,14.88),(12.24,14.94),(12.39,14.94),(12.39,15.03),(12.6,15.03),(12.6,15.12),(12.87,15.12),(12.87,15.18),(13.44,15.18),(13.44,15.12),(13.68,15.12),(13.68,15.03),(13.86,15.03),(13.86,14.94),(14.1,14.94),(14.1,14.88),(14.16,14.88),(14.16,14.85),(14.31,14.85),(14.31,14.64),(14.37,14.64),(14.37,14.52),(14.52,14.52),(14.52,14.49),(14.58,14.49),(14.58,14.4),(14.64,14.4),(14.64,14.28),(14.73,14.28),(14.73,14.07),(14.82,14.07),(14.82,13.8),(14.91,13.8),(14.91,12.96),(14.82,12.96),(14.82,12.72),(14.73,12.72),(14.73,12.48),(14.64,12.48),(14.64,12.33),(14.58,12.33),(14.58,12.27),(14.52,12.27),(14.52,12.12),(14.37,12.12),(14.37,12.06),(14.31,12.06),(14.31,11.94),(14.19,11.94),(14.19,11.88),(14.16,11.88),(14.16,11.79),(14.1,11.79),(14.1,11.73),(13.86,11.73),(13.86,11.7),(13.68,11.7),(13.68,11.61),(13.44,11.61),(13.44,11.52)],
  [(59.03,0.39),(59.03,5.67),(60.02,5.67),(60.02,5.58),(60.11,5.58),(60.11,5.4),(60.17,5.4),(60.17,5.31),(60.23,5.31),(60.23,5.16),(60.35,5.16),(60.35,5.1),(60.41,5.1),(60.41,4.92),(60.56,4.92),(60.56,4.8),(60.59,4.8),(60.59,4.77),(60.74,4.77),(60.74,4.68),(60.8,4.68),(60.8,4.56),(60.89,4.56),(60.89,4.38),(60.95,4.38),(60.95,4.35),(61.01,4.35),(61.01,4.17),(61.1,4.17),(61.1,4.02),(61.31,4.02),(61.31,3.87),(61.37,3.87),(61.37,3.81),(61.46,3.81),(61.46,3.63),(61.52,3.63),(61.52,3.51),(61.64,3.51),(61.64,3.36),(61.7,3.36),(61.7,3.27),(61.85,3.27),(61.85,3.15),(61.91,3.15),(61.91,3.06),(62.03,3.06),(62.03,2.97),(62.09,2.97),(62.09,2.82),(62.15,2.82),(62.15,2.76),(62.24,2.76),(62.24,2.58),(62.33,2.58),(62.33,2.55),(62.45,2.55),(62.45,2.4),(62.51,2.4),(62.51,2.22),(62.57,2.22),(62.57,2.16),(62.69,2.16),(62.69,2.01),(62.75,2.01),(62.75,1.92),(62.81,1.92),(62.81,1.8),(62.93,1.8),(62.93,5.67),(63.8,5.67),(63.8,0.39),(62.81,0.39),(62.81,0.48),(62.75,0.48),(62.75,0.57),(62.69,0.57),(62.69,0.78),(62.57,0.78),(62.57,0.9),(62.51,0.9),(62.51,0.93),(62.45,0.93),(62.45,1.11),(62.33,1.11),(62.33,1.2),(62.24,1.2),(62.24,1.32),(62.15,1.32),(62.15,1.44),(62.09,1.44),(62.09,1.53),(62.03,1.53),(62.03,1.65),(61.91,1.65),(61.91,1.68),(61.85,1.68),(61.85,1.89),(61.7,1.89),(61.7,2.01),(61.64,2.01),(61.64,2.16),(61.52,2.16),(61.52,2.22),(61.46,2.22),(61.46,2.4),(61.37,2.4),(61.37,2.43),(61.31,2.43),(61.31,2.55),(61.25,2.55),(61.25,2.64),(61.1,2.64),(61.1,2.76),(61.01,2.76),(61.01,2.94),(60.95,2.94),(60.95,2.97),(60.89,2.97),(60.89,3.15),(60.8,3.15),(60.8,3.27),(60.74,3.27),(60.74,3.36),(60.59,3.36),(60.59,3.51),(60.56,3.51),(60.56,3.63),(60.41,3.63),(60.41,3.69),(60.35,3.69),(60.35,3.81),(60.23,3.81),(60.23,4.02),(60.11,4.02),(60.11,4.08),(60.02,4.08),(60.02,4.17),(59.93,4.17),(59.93,0.39)],
  [(47.63,9.21),(47.63,18.27),(53.93,18.27),(53.93,16.83),(49.19,16.83),(49.19,14.46),(53.39,14.46),(53.39,13.08),(49.19,13.08),(49.19,10.62),(54.08,10.62),(54.08,9.21)],
  [(45.53,0.39),(45.53,4.8),(44,4.8),(44,5.67),(47.99,5.67),(47.99,4.8),(46.4,4.8),(46.4,0.39)],
  [(73.25,0.39),(73.25,0.45),(72.98,0.45),(72.98,0.48),(72.83,0.48),(72.83,0.57),(72.65,0.57),(72.65,0.66),(72.62,0.66),(72.62,0.78),(72.41,0.78),(72.41,0.84),(72.29,0.84),(72.29,0.9),(72.23,0.9),(72.23,0.93),(72.11,0.93),(72.11,1.02),(72.05,1.02),(72.05,1.11),(71.96,1.11),(71.96,1.2),(71.87,1.2),(71.87,1.29),(71.81,1.29),(71.81,1.44),(71.69,1.44),(71.69,1.5),(71.6,1.5),(71.6,1.65),(71.54,1.65),(71.54,1.8),(71.42,1.8),(71.42,1.92),(71.39,1.92),(71.39,2.22),(71.33,2.22),(71.33,2.58),(71.21,2.58),(71.21,3.51),(71.33,3.51),(71.33,3.87),(71.39,3.87),(71.39,4.08),(71.42,4.08),(71.42,4.26),(71.54,4.26),(71.54,4.5),(71.6,4.5),(71.6,4.56),(71.69,4.56),(71.69,4.71),(71.81,4.71),(71.81,4.8),(71.87,4.8),(71.87,4.92),(71.96,4.92),(71.96,5.04),(72.05,5.04),(72.05,5.1),(72.11,5.1),(72.11,5.16),(72.23,5.16),(72.23,5.22),(72.29,5.22),(72.29,5.31),(72.41,5.31),(72.41,5.4),(72.62,5.4),(72.62,5.43),(72.65,5.43),(72.65,5.58),(72.83,5.58),(72.83,5.61),(72.98,5.61),(72.98,5.67),(73.25,5.67),(73.25,5.76),(74.57,5.76),(74.57,5.67),(74.81,5.67),(74.81,5.61),(75.05,5.61),(75.05,5.58),(75.14,5.58),(75.14,5.43),(75.32,5.43),(75.32,5.4),(75.35,5.4),(75.35,5.31),(75.47,5.31),(75.47,5.22),(75.65,5.22),(75.65,5.16),(75.74,5.16),(75.74,5.04),(75.86,5.04),(75.86,4.92),(75.92,4.92),(75.92,4.77),(75.86,4.77),(75.86,4.71),(75.74,4.71),(75.74,4.56),(75.71,4.56),(75.71,4.5),(75.65,4.5),(75.65,4.38),(75.47,4.38),(75.47,4.35),(75.35,4.35),(75.35,4.26),(75.32,4.26),(75.32,4.38),(75.23,4.38),(75.23,4.5),(75.14,4.5),(75.14,4.56),(74.99,4.56),(74.99,4.68),(74.87,4.68),(74.87,4.71),(74.69,4.71),(74.69,4.77),(74.57,4.77),(74.57,4.8),(74.15,4.8),(74.15,4.92),(73.73,4.92),(73.73,4.8),(73.37,4.8),(73.37,4.77),(73.16,4.77),(73.16,4.71),(72.98,4.71),(72.98,4.68),(72.89,4.68),(72.89,4.56),(72.71,4.56),(72.71,4.38),(72.62,4.38),(72.62,4.26),(72.5,4.26),(72.5,4.17),(72.41,4.17),(72.41,4.02),(72.29,4.02),(72.29,3.87),(72.23,3.87),(72.23,3.69),(72.11,3.69),(72.11,2.43),(72.23,2.43),(72.23,2.34),(72.29,2.34),(72.29,2.16),(72.41,2.16),(72.41,2.01),(72.5,2.01),(72.5,1.89),(72.62,1.89),(72.62,1.8),(72.65,1.8),(72.65,1.68),(72.71,1.68),(72.71,1.53),(72.89,1.53),(72.89,1.5),(72.98,1.5),(72.98,1.44),(73.16,1.44),(73.16,1.32),(73.37,1.32),(73.37,1.29),(73.58,1.29),(73.58,1.2),(74.15,1.2),(74.15,1.29),(74.57,1.29),(74.57,1.32),(74.69,1.32),(74.69,1.44),(74.81,1.44),(74.81,1.5),(74.99,1.5),(74.99,1.53),(75.05,1.53),(75.05,1.65),(75.14,1.65),(75.14,1.68),(75.23,1.68),(75.23,1.8),(75.35,1.8),(75.35,1.68),(75.47,1.68),(75.47,1.65),(75.65,1.65),(75.65,1.53),(75.71,1.53),(75.71,1.5),(75.74,1.5),(75.74,1.32),(75.86,1.32),(75.86,1.2),(75.74,1.2),(75.74,1.02),(75.65,1.02),(75.65,0.93),(75.47,0.93),(75.47,0.9),(75.35,0.9),(75.35,0.84),(75.32,0.84),(75.32,0.78),(75.23,0.78),(75.23,0.66),(75.05,0.66),(75.05,0.57),(74.99,0.57),(74.99,0.48),(74.69,0.48),(74.69,0.45),(74.48,0.45),(74.48,0.39)])

lib.write_gds('DP_logo.gds')
